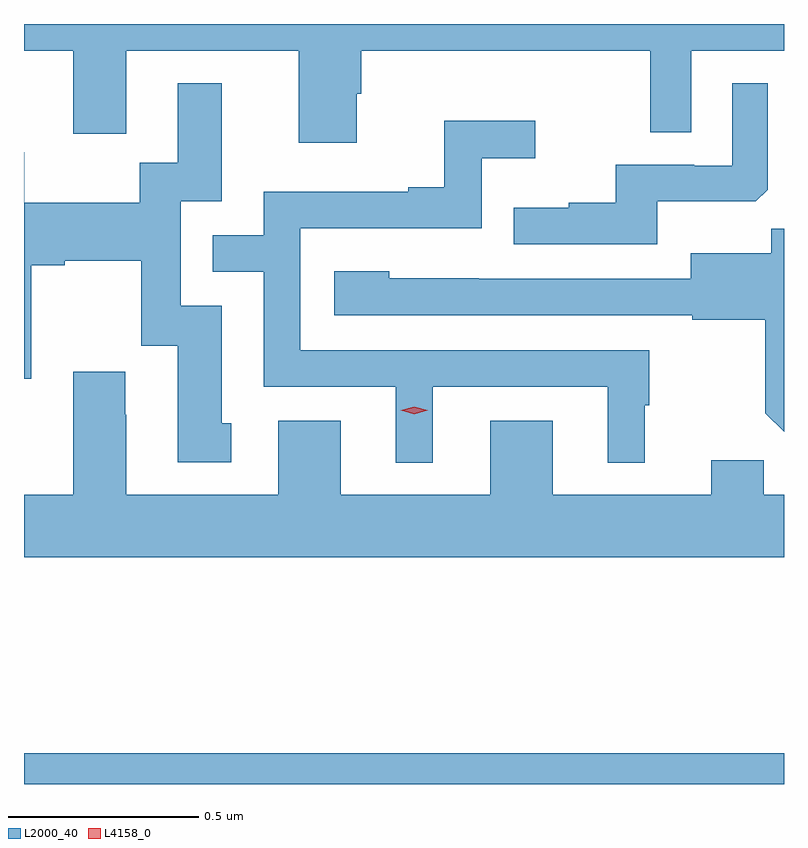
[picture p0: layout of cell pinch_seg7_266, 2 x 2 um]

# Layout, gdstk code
import gdstk
lib = gdstk.Library(unit=1e-6, precision=1e-09)
def R(c, l, rs):  # rectangles x0, y0, x1, y1
    for r in rs: c.add(gdstk.rectangle(r[:2], r[2:], *l))
def P(c, l, *ps):  # polygons
    for p in ps: c.add(gdstk.Polygon(p, *l))
L2000_40 = (2000, 40)
L4158_0 = (4158, 0)

pinch_seg7_266 = lib.new_cell('pinch_seg7_266')
R(pinch_seg7_266, L2000_40, [(869.54,1012.007,871.54,1012.088)])
P(pinch_seg7_266, L2000_40, [(870.415,1013.823),(870.428,1013.823),(870.428,1013.936),(871.188,1013.936),(871.188,1013.722),(871.296,1013.722),(871.296,1013.936),(871.54,1013.936),(871.54,1014.007),(869.54,1014.007),(869.54,1013.936),(869.669,1013.936),(869.669,1013.718),(869.809,1013.718),(869.809,1013.936),(870.263,1013.936),(870.263,1013.694),(870.415,1013.694)],
  [(871.207,1013.54),(871.465,1013.54),(871.497,1013.571),(871.497,1013.851),(871.404,1013.851),(871.404,1013.634),(871.304,1013.634),(871.304,1013.637),(871.097,1013.637),(871.097,1013.536),(870.973,1013.536),(870.973,1013.524),(870.829,1013.524),(870.829,1013.427),(871.207,1013.427)],
  [(870.085,1012.956),(870.061,1012.956),(870.061,1013.265),(869.952,1013.265),(869.952,1013.541),(870.061,1013.541),(870.061,1013.851),(869.945,1013.851),(869.945,1013.642),(869.844,1013.642),(869.844,1013.536),(869.541,1013.536),(869.541,1013.67),(869.54,1013.67),(869.54,1013.073),(869.559,1013.073),(869.559,1013.372),(869.647,1013.372),(869.647,1013.384),(869.849,1013.384),(869.849,1013.16),(869.945,1013.16),(869.945,1012.854),(870.085,1012.854)],
  [(870.616,1013.052),(871.076,1013.052),(871.076,1012.853),(871.174,1012.853),(871.174,1013.004),(871.186,1013.004),(871.186,1013.148),(870.267,1013.148),(870.267,1013.469),(870.744,1013.469),(870.744,1013.654),(870.886,1013.654),(870.886,1013.753),(870.646,1013.753),(870.646,1013.578),(870.551,1013.578),(870.551,1013.565),(870.171,1013.565),(870.171,1013.451),(870.037,1013.451),(870.037,1013.355),(870.171,1013.355),(870.171,1013.052),(870.518,1013.052),(870.518,1012.853),(870.616,1012.853)],
  [(871.54,1013.468),(871.506,1013.468),(871.506,1013.404),(871.295,1013.404),(871.295,1013.337),(870.737,1013.337),(870.737,1013.338),(870.501,1013.338),(870.501,1013.356),(870.357,1013.356),(870.357,1013.241),(871.299,1013.241),(871.299,1013.229),(871.491,1013.229),(871.491,1012.983),(871.54,1012.934)],
  [(871.54,1012.768),(871.487,1012.768),(871.487,1012.859),(871.349,1012.859),(871.349,1012.768),(870.931,1012.768),(870.931,1012.963),(870.767,1012.963),(870.767,1012.768),(870.373,1012.768),(870.373,1012.963),(870.209,1012.963),(870.209,1012.768),(869.809,1012.768),(869.809,1012.979),(869.806,1012.979),(869.806,1013.092),(869.669,1013.092),(869.669,1012.768),(869.54,1012.768),(869.54,1012.604),(871.54,1012.604)])
P(pinch_seg7_266, L4158_0, [(870.567,1012.98),(870.532,1012.99),(870.532,1012.99),(870.532,1012.991),(870.567,1013),(870.602,1012.991),(870.602,1012.99),(870.602,1012.99)])

lib.write_gds('pinch_seg7_266.gds')
